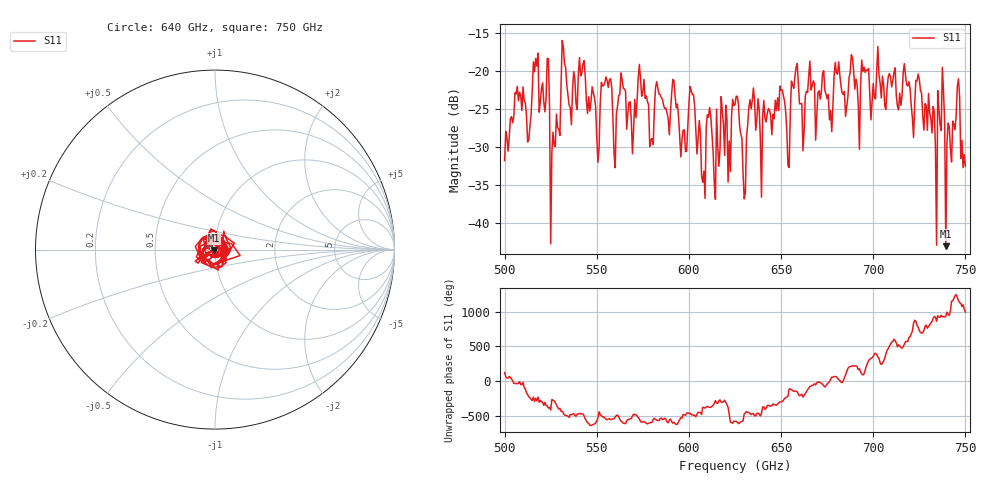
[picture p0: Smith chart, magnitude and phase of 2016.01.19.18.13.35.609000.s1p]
!Created with skrf (http://scikit-rf.org).
# GHz S RI R 50.0
!freq ReS11 ImS11
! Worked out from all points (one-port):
!   401 points, 500 GHz to 750 GHz, reference 50 ohm
!   lowest |S11| = -43.1 dB at 739.4 GHz (marker M1), VSWR 1.01, Z = 49.4 - j0.343 ohm
!   |S11| at or under -10 dB: start of sweep to end of sweep
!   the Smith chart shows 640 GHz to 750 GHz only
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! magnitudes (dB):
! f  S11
! 500 GHz  -31.8
! 506.9 GHz  -22.1
! 513.1 GHz  -29.1
! 516.9 GHz  -18.4
! 523.1 GHz  -18.4
! 526.2 GHz  -28.1
! 531.2 GHz  -16.0
! 541.9 GHz  -20.4
! 550.6 GHz  -32.1
! 553.8 GHz  -22.0
! 560 GHz  -32.8
! 562.5 GHz  -23.1
! 593.8 GHz  -24.4
! 601.9 GHz  -23.1
! 607.5 GHz  -34.7
! 610.6 GHz  -26.1
! 615 GHz  -25.1
! 625 GHz  -24.5
! 630 GHz  -36.9
! 633.8 GHz  -25.0
! 650.6 GHz  -22.5
! 653.8 GHz  -32.5
! 656.2 GHz  -21.9
! 687.5 GHz  -20.2
! 718.8 GHz  -22.0
! 739.4 GHz  -43.1
! 745.6 GHz  -22.1
! 750 GHz  -32.6
